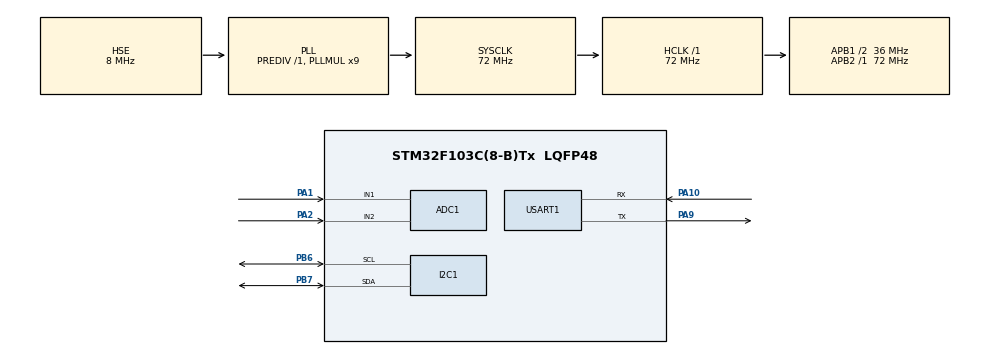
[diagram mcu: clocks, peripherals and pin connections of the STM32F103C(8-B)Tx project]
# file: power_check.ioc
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ADC1.Channel-1\#ChannelRegularConversion=ADC_CHANNEL_1
ADC1.Channel-2\#ChannelRegularConversion=ADC_CHANNEL_2
ADC1.ContinuousConvMode=ENABLE
ADC1.NbrOfConversion=2
ADC1.NbrOfConversionFlag=1
ADC1.Rank-1\#ChannelRegularConversion=1
ADC1.Rank-2\#ChannelRegularConversion=2
ADC1.SamplingTime-1\#ChannelRegularConversion=ADC_SAMPLETIME_55CYCLES_5
ADC1.SamplingTime-2\#ChannelRegularConversion=ADC_SAMPLETIME_55CYCLES_5
ADC1.master=1
Dma.ADC1.0.Direction=DMA_PERIPH_TO_MEMORY
Dma.ADC1.0.Instance=DMA1_Channel1
Dma.ADC1.0.MemDataAlignment=DMA_MDATAALIGN_HALFWORD
Dma.ADC1.0.MemInc=DMA_MINC_ENABLE
Dma.ADC1.0.Mode=DMA_CIRCULAR
Dma.ADC1.0.PeriphDataAlignment=DMA_PDATAALIGN_HALFWORD
Dma.ADC1.0.PeriphInc=DMA_PINC_DISABLE
Dma.ADC1.0.Priority=DMA_PRIORITY_LOW
Dma.I2C1_RX.3.Direction=DMA_PERIPH_TO_MEMORY
Dma.I2C1_RX.3.Instance=DMA1_Channel7
Dma.I2C1_RX.3.MemDataAlignment=DMA_MDATAALIGN_BYTE
Dma.I2C1_RX.3.MemInc=DMA_MINC_ENABLE
Dma.I2C1_RX.3.Mode=DMA_NORMAL
Dma.I2C1_RX.3.PeriphDataAlignment=DMA_PDATAALIGN_BYTE
Dma.I2C1_RX.3.PeriphInc=DMA_PINC_DISABLE
Dma.I2C1_RX.3.Priority=DMA_PRIORITY_LOW
Dma.I2C1_TX.4.Direction=DMA_MEMORY_TO_PERIPH
Dma.I2C1_TX.4.Instance=DMA1_Channel6
Dma.I2C1_TX.4.MemDataAlignment=DMA_MDATAALIGN_BYTE
Dma.I2C1_TX.4.MemInc=DMA_MINC_ENABLE
Dma.I2C1_TX.4.Mode=DMA_NORMAL
Dma.I2C1_TX.4.PeriphDataAlignment=DMA_PDATAALIGN_BYTE
Dma.I2C1_TX.4.PeriphInc=DMA_PINC_DISABLE
Dma.I2C1_TX.4.Priority=DMA_PRIORITY_LOW
Dma.Request0=ADC1
Dma.Request1=USART1_RX
Dma.Request2=USART1_TX
Dma.Request3=I2C1_RX
Dma.Request4=I2C1_TX
Dma.USART1_RX.1.Direction=DMA_PERIPH_TO_MEMORY
Dma.USART1_RX.1.Instance=DMA1_Channel5
Dma.USART1_RX.1.MemDataAlignment=DMA_MDATAALIGN_BYTE
Dma.USART1_RX.1.MemInc=DMA_MINC_ENABLE
Dma.USART1_RX.1.Mode=DMA_NORMAL
Dma.USART1_RX.1.PeriphDataAlignment=DMA_PDATAALIGN_BYTE
Dma.USART1_RX.1.PeriphInc=DMA_PINC_DISABLE
Dma.USART1_RX.1.Priority=DMA_PRIORITY_LOW
Dma.USART1_TX.2.Direction=DMA_MEMORY_TO_PERIPH
Dma.USART1_TX.2.Instance=DMA1_Channel4
Dma.USART1_TX.2.MemDataAlignment=DMA_MDATAALIGN_BYTE
Dma.USART1_TX.2.MemInc=DMA_MINC_ENABLE
Dma.USART1_TX.2.Mode=DMA_NORMAL
Dma.USART1_TX.2.PeriphDataAlignment=DMA_PDATAALIGN_BYTE
Dma.USART1_TX.2.PeriphInc=DMA_PINC_DISABLE
Dma.USART1_TX.2.Priority=DMA_PRIORITY_LOW
Mcu.Family=STM32F1
Mcu.Name=STM32F103C(8-B)Tx
Mcu.Package=LQFP48
NVIC.DMA1_Channel1_IRQn=true\:0\:0\:false\:false\:true\:false\:true\:true
NVIC.DMA1_Channel4_IRQn=true\:0\:0\:false\:false\:true\:false\:true\:true
NVIC.DMA1_Channel5_IRQn=true\:0\:0\:false\:false\:true\:false\:true\:true
NVIC.DMA1_Channel6_IRQn=true\:0\:0\:false\:false\:true\:false\:true\:true
NVIC.DMA1_Channel7_IRQn=true\:0\:0\:false\:false\:true\:false\:true\:true
NVIC.I2C1_ER_IRQn=true\:0\:0\:false\:false\:true\:true\:true\:true
NVIC.I2C1_EV_IRQn=true\:0\:0\:false\:false\:true\:true\:true\:true
NVIC.PriorityGroup=NVIC_PRIORITYGROUP_4
NVIC.USART1_IRQn=true\:0\:0\:false\:false\:true\:true\:true\:true
PA1.Signal=ADCx_IN1
PA10.Mode=Asynchronous
PA10.Signal=USART1_RX
PA13.Mode=Serial_Wire
PA13.Signal=SYS_JTMS-SWDIO
PA14.Mode=Serial_Wire
PA14.Signal=SYS_JTCK-SWCLK
PA2.Signal=ADCx_IN2
PA9.Mode=Asynchronous
PA9.Signal=USART1_TX
PB6.Mode=I2C
PB6.Signal=I2C1_SCL
PB7.Mode=I2C
PB7.Signal=I2C1_SDA
PD0-OSC_IN.Mode=HSE-External-Oscillator
PD0-OSC_IN.Signal=RCC_OSC_IN
PD1-OSC_OUT.Mode=HSE-External-Oscillator
PD1-OSC_OUT.Signal=RCC_OSC_OUT
ProjectManager.HeapSize=0x200
ProjectManager.StackSize=0x400
ProjectManager.TargetToolchain=MDK-ARM V5.32
RCC.ADCPresc=RCC_ADCPCLK2_DIV6
RCC.AHBFreq_Value=72000000
RCC.APB1CLKDivider=RCC_HCLK_DIV2
RCC.APB1Freq_Value=36000000
RCC.APB1TimFreq_Value=72000000
RCC.APB2Freq_Value=72000000
RCC.APB2TimFreq_Value=72000000
RCC.HCLKFreq_Value=72000000
RCC.PLLMUL=RCC_PLL_MUL9
RCC.PLLSourceVirtual=RCC_PLLSOURCE_HSE
RCC.SYSCLKFreq_VALUE=72000000
RCC.SYSCLKSource=RCC_SYSCLKSOURCE_PLLCLK
RCC.USBFreq_Value=72000000
SH.ADCx_IN1.0=ADC1_IN1,IN1
SH.ADCx_IN2.0=ADC1_IN2,IN2
USART1.VirtualMode=VM_ASYNC
board=custom

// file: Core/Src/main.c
/* USER CODE BEGIN Header */
/**
  ******************************************************************************
  * @file           : main.c
  * @brief          : Main program body
  ******************************************************************************
  * @attention
  *
  * Copyright (c) 2022 STMicroelectronics.
  * All rights reserved.
  *
  * This software is licensed under terms that can be found in the LICENSE file
  * in the root directory of this software component.
  * If no LICENSE file comes with this software, it is provided AS-IS.
  *
  ******************************************************************************
  */
/* USER CODE END Header */
#include "main.h"
#include "adc.h"
#include "dma.h"
#include "i2c.h"
#include "usart.h"
#include "gpio.h"

/* USER CODE BEGIN Includes */
#include "adc_read.h"
#include "at24cxx.h"
/* USER CODE END Includes */

void SystemClock_Config(void);

/* USER CODE BEGIN 0 */
char buf[5];
char bufadd[128];
uint8_t testcount=0;
uint8_t turnledflag=0;
uint8_t turnledflag2=0;
uint16_t statecnt=0;
uint16_t ledcnt=0;

/* USER CODE END 0 */

int main(void)
{

  /* MCU Configuration--------------------------------------------------------*/

  /* Reset of all peripherals, Initializes the Flash interface and the Systick. */
  HAL_Init();

  /* Configure the system clock */
  SystemClock_Config();

  /* Initialize all configured peripherals */
  MX_GPIO_Init();
  MX_DMA_Init();
  MX_ADC1_Init();
  MX_USART1_UART_Init();
  MX_I2C1_Init();
  /* USER CODE BEGIN 2 */
	HAL_UART_Receive_DMA(&huart1,usart1_handle.rx_buf,RX_SIZE);
  __HAL_UART_ENABLE_IT(&huart1, UART_IT_IDLE);
	adc_init(&read_adc);
	HAL_ADCEx_Calibration_Start(&hadc1);
	HAL_ADC_Start_DMA(&hadc1,(uint32_t*)&read_adc.adc_value,2);
  /* USER CODE END 2 */

  /* Infinite loop */
  while (1)
  {

    /* USER CODE BEGIN 3 */
		state_change();
//		HAL_UART_Transmit_DMA(&huart1,(uint8_t*)buf,strlen(buf));
		HAL_Delay(10);
		if(read_adc.usb > 1.5)
			{
				if(turnledflag == 1)
					{
						HAL_GPIO_WritePin(GPIOA, LED_R_Pin|LED_B_Pin, GPIO_PIN_RESET);
						HAL_GPIO_WritePin(GPIOA, SWITCH1_Pin|SWITCH2_Pin, GPIO_PIN_RESET);//接上USB时关闭红外灯 GPIO_PIN_RESET
						handle.usbflag = ENABLE;
						turnledflag = 0;
					}
			}
		else
			{
				if(turnledflag == 0)
					{
						HAL_GPIO_WritePin(GPIOA, SWITCH1_Pin|SWITCH2_Pin, GPIO_PIN_RESET);//开启红外光//未接上USB，测量时打开红外灯 GPIO_PIN_SET
						handle.usbflag = DISABLE;
						turnledflag = 1;
					}
				ledcnt++;
				if(ledcnt == 100)
					{
						if(turnledflag2 == 0)
							{
								HAL_GPIO_WritePin(GPIOA, LED_B_Pin, GPIO_PIN_RESET);
								HAL_GPIO_WritePin(GPIOA, LED_R_Pin, GPIO_PIN_SET);
								turnledflag2=1;
							}
						else
							{
								HAL_GPIO_WritePin(GPIOA, LED_B_Pin, GPIO_PIN_SET);
								HAL_GPIO_WritePin(GPIOA, LED_R_Pin, GPIO_PIN_RESET);
								turnledflag2=0;
							}
						ledcnt=0;
					}
			}
  }
  /* USER CODE END 3 */
}

void SystemClock_Config(void)
{
  RCC_OscInitTypeDef RCC_OscInitStruct = {0};
  RCC_ClkInitTypeDef RCC_ClkInitStruct = {0};
  RCC_PeriphCLKInitTypeDef PeriphClkInit = {0};

  /** Initializes the RCC Oscillators according to the specified parameters
  * in the RCC_OscInitTypeDef structure.
  */
  RCC_OscInitStruct.OscillatorType = RCC_OSCILLATORTYPE_HSE;
  RCC_OscInitStruct.HSEState = RCC_HSE_ON;
  RCC_OscInitStruct.HSEPredivValue = RCC_HSE_PREDIV_DIV1;
  RCC_OscInitStruct.HSIState = RCC_HSI_ON;
  RCC_OscInitStruct.PLL.PLLState = RCC_PLL_ON;
  RCC_OscInitStruct.PLL.PLLSource = RCC_PLLSOURCE_HSE;
  RCC_OscInitStruct.PLL.PLLMUL = RCC_PLL_MUL9;
  if (HAL_RCC_OscConfig(&RCC_OscInitStruct) != HAL_OK)
  {
    Error_Handler();
  }

  /** Initializes the CPU, AHB and APB buses clocks
  */
  RCC_ClkInitStruct.ClockType = RCC_CLOCKTYPE_HCLK|RCC_CLOCKTYPE_SYSCLK
                              |RCC_CLOCKTYPE_PCLK1|RCC_CLOCKTYPE_PCLK2;
  RCC_ClkInitStruct.SYSCLKSource = RCC_SYSCLKSOURCE_PLLCLK;
  RCC_ClkInitStruct.AHBCLKDivider = RCC_SYSCLK_DIV1;
  RCC_ClkInitStruct.APB1CLKDivider = RCC_HCLK_DIV2;
  RCC_ClkInitStruct.APB2CLKDivider = RCC_HCLK_DIV1;

  if (HAL_RCC_ClockConfig(&RCC_ClkInitStruct, FLASH_LATENCY_2) != HAL_OK)
  {
    Error_Handler();
  }
  PeriphClkInit.PeriphClockSelection = RCC_PERIPHCLK_ADC;
  PeriphClkInit.AdcClockSelection = RCC_ADCPCLK2_DIV6;
  if (HAL_RCCEx_PeriphCLKConfig(&PeriphClkInit) != HAL_OK)
  {
    Error_Handler();
  }
}
 uint8_t  cleancount[2]={0,0};
/* USER CODE BEGIN 4 */
void state_change(void)
{
	read_adc.usb	  = read_adc.adc_value[1]*3.3f/4096;
	switch (handle.flagstate)
		{
			case SAVE://1
				if(handle.usbflag == DISABLE)
				{
					statecnt++;
					if(statecnt == 500)
					{
						if(saveadc_data.data_count<13000)
						{
							read_adc.charge = read_adc.adc_value[0]*3.3f/4096;
							sprintf((char *)saveadc_data.at24_w_data,"%.2f,",read_adc.charge);
							AT24CXX_WriteData(0x0003+saveadc_data.data_count*5, saveadc_data.at24_w_data,5);//前三个字节是采样总个数

//							sprintf((char *)saveadc_data.at24_w_data,"%d,",read_adc.adc_value[0]);//直接存4位整数（满值是4096）
//							AT24CXX_WriteData(0x0003+saveadc_data.data_count*5, saveadc_data.at24_w_data,strlen((char *)saveadc_data.at24_w_data));//前三个字节是采样总个数

							saveadc_data.data_count++;
							for(uint8_t i=0;i<2;i++)
							{
								saveadc_data.data_countbuf[i]				  = 0xff&(saveadc_data.data_count>>(i*8));
							}
							AT24CXX_WriteData(0x0000, saveadc_data.data_countbuf, 2);
						}
						else
						{
							handle.flagstate = STOP;
						}
						statecnt=0;
					}
				}
			break;

			case SEND://2
				HAL_GPIO_WritePin(GPIOA, LED_B_Pin, GPIO_PIN_SET);
				saveadc_data.send_count=((saveadc_data.data_count*5+3)/128)+1;
				for(uint16_t j=0;j<saveadc_data.send_count;j++)//每次读出512个字节发送出去
				{
					memset(saveadc_data.at24_r_data,0,128);
					HAL_I2C_Mem_Read_DMA(&hi2c1, R_IIC_ADDR_AT24CXX, 128*j+3, I2C_MEMADD_SIZE_16BIT, saveadc_data.at24_r_data, 128);
					while (HAL_I2C_GetState(&hi2c1) != HAL_I2C_STATE_READY){}
					HAL_UART_Transmit_DMA(&huart1, saveadc_data.at24_r_data, 128);
					HAL_Delay(20);
				}
				handle.flagstate = STOP;
			break;

			case CLEAN://3
				saveadc_data.data_count=0;
				//AT24CXX_WriteData(0x0000, cleancount, 2);
				for(uint16_t j=0;j<512;j++)
				{
					AT24CXX_WriteData(128*j, saveadc_data.clean_data, 128);
				}
				//memset(ADC_BUF,0,ADC_BUFLEN);
				handle.flagstate = SAVE;
				handle.savecount = 0;
				HAL_GPIO_WritePin(GPIOA, LED_R_Pin, GPIO_PIN_RESET);
			break;

			case STOP://4
				HAL_GPIO_WritePin(GPIOA, LED_R_Pin, GPIO_PIN_SET);
				HAL_GPIO_WritePin(GPIOA, LED_B_Pin, GPIO_PIN_RESET);
				if(saveadc_data.data_count<13000)
				{
					if(read_adc.usb < 1.5)
					{
						handle.flagstate = SAVE;
					}

				}
			break;

			case WRITE://5
//				read_adc.charge = read_adc.adc_value[0]*3.3f/4096;
//				sprintf((char *)saveadc_data.at24_w_data,"%.2f,",read_adc.charge);
//				AT24CXX_WriteData(0x0000, saveadc_data.at24_w_data,5);
				AT24CXX_WriteData(0x0000, saveadc_data.at24_w_data,8);
				handle.flagstate = STOP;
			break;
			case READ://6
				HAL_I2C_Mem_Read_DMA(&hi2c1, R_IIC_ADDR_AT24CXX, 0x0000, I2C_MEMADD_SIZE_16BIT, saveadc_data.at24_r_data, 64);
				while (HAL_I2C_GetState(&hi2c1) != HAL_I2C_STATE_READY){}
				handle.flagstate = STOP;
			break;
		}
}
/* USER CODE END 4 */

void Error_Handler(void)
{
  __disable_irq();
  while (1)
  {
  }
}
